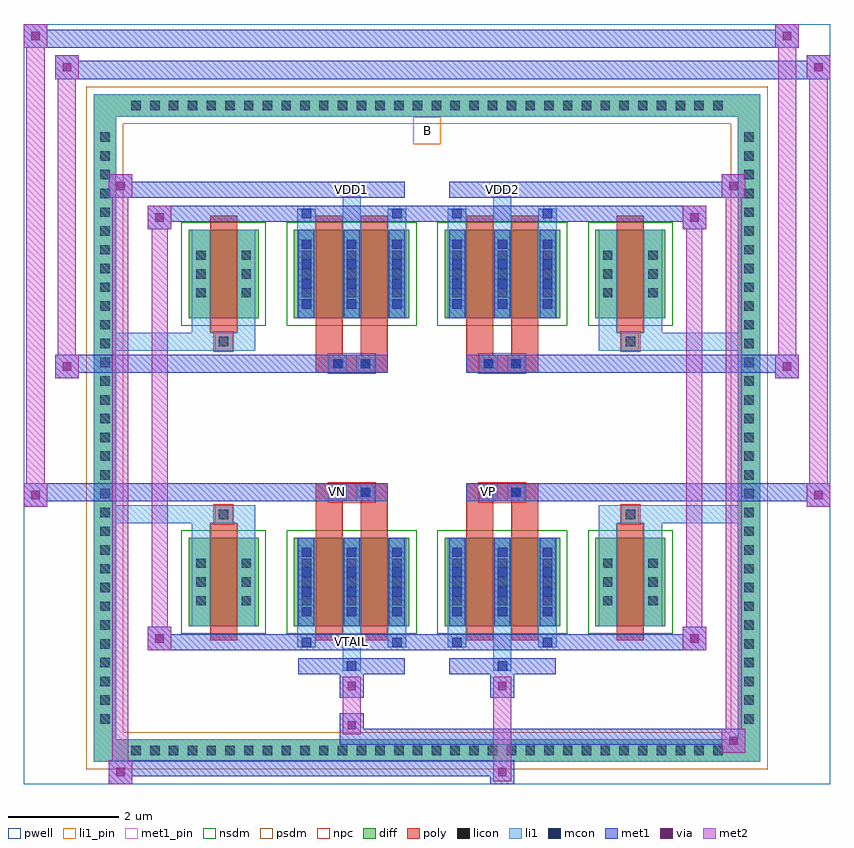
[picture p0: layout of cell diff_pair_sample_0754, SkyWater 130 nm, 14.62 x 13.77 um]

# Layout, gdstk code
import gdstk
lib = gdstk.Library(unit=1e-6, precision=5e-09)
def R(c, l, rs):  # rectangles x0, y0, x1, y1
    for r in rs: c.add(gdstk.rectangle(r[:2], r[2:], *l))
def A(c, l, x, y, w, h, nx, ny, dx, dy):  # array of equal rectangles
    R(c, l, [(x+i*dx, y+j*dy, x+i*dx+w, y+j*dy+h) for i in range(nx) for j in range(ny)])
def P(c, l, *ps):  # polygons
    for p in ps: c.add(gdstk.Polygon(p, *l))
pwell = (64, 44)
diff = (65, 20)
poly = (66, 20)
licon = (66, 44)
li1_pin = (67, 16)
li1 = (67, 20)
mcon = (67, 44)
met1_pin = (68, 16)
met1 = (68, 20)
via = (68, 44)
met2 = (69, 20)
nsdm = (93, 44)
psdm = (94, 20)
npc = (95, 20)

diff_pair_sample_0754 = lib.new_cell('diff_pair_sample_0754')
R(diff_pair_sample_0754, pwell, [(-7.31,-6.45,7.31,7.32), (-4.63,-4.64,-0.01,-0.8), (0.01,-4.64,4.63,-0.8), (-4.63,0.8,-0.01,4.64), (0.01,0.8,4.63,4.64)])
A(diff_pair_sample_0754, diff, -5.475, -6.05, 0.41, 0.41, 32, 2, 0.34, 11.69)
A(diff_pair_sample_0754, diff, -6.04, -5.475, 0.41, 0.41, 1, 32, 0, 0.34)
A(diff_pair_sample_0754, diff, 5.63, -5.475, 0.41, 0.41, 1, 32, 0, 0.34)
R(diff_pair_sample_0754, diff, [(-5.475,-6.05,5.475,-5.64), (-6.04,-5.475,-5.63,5.475), (5.63,-5.475,6.04,5.475), (-4.32,-3.595,-3.05,-1.985), (-2.41,-3.595,-0.32,-1.985), (0.32,-3.595,2.41,-1.985), (3.05,-3.595,4.32,-1.985), (-4.32,1.985,-3.05,3.595), (-2.41,1.985,-0.32,3.595), (0.32,1.985,2.41,3.595), (3.05,1.985,4.32,3.595), (-5.475,5.64,5.475,6.05)])
P(diff_pair_sample_0754, diff, [(6.04,6.05),(-6.04,6.05),(-6.04,-5.64),(-5.63,-5.64),(-5.63,5.64),(5.63,5.64),(5.63,-5.64),(-5.63,-5.64),(-6.04,-5.64),(-6.04,-6.05),(6.04,-6.05)])
R(diff_pair_sample_0754, poly, [(-3.93,-3.85,-3.44,-1.73), (-2.02,-3.85,-1.53,-1.73), (-1.2,-3.85,-0.71,-1.73), (0.71,-3.85,1.2,-1.73), (1.53,-3.85,2.02,-1.73), (3.44,-3.85,3.93,-1.73), (-3.85,-1.73,-3.52,-1.4), (-3.85,-1.73,-3.52,-1.4), (-2.02,-1.73,-1.53,-1.33), (-1.2,-1.73,-0.71,-1.33), (0.71,-1.73,1.2,-1.33), (1.53,-1.73,2.02,-1.33), (3.52,-1.73,3.85,-1.4), (3.52,-1.73,3.85,-1.4), (-2.02,-1.33,-0.71,-1), (-1.78,-1.33,-1.45,-1), (-1.28,-1.33,-0.95,-1), (0.71,-1.33,2.02,-1), (0.95,-1.33,1.28,-1), (1.45,-1.33,1.78,-1), (-2.02,1,-0.71,1.33), (-1.78,1,-1.45,1.33), (-1.28,1,-0.95,1.33), (0.71,1,2.02,1.33), (0.95,1,1.28,1.33), (1.45,1,1.78,1.33), (-2.02,1.33,-1.53,1.73), (-1.2,1.33,-0.71,1.73), (0.71,1.33,1.2,1.73), (1.53,1.33,2.02,1.73), (-3.85,1.4,-3.52,1.73), (-3.85,1.4,-3.52,1.73), (3.52,1.4,3.85,1.73), (3.52,1.4,3.85,1.73), (-3.93,1.73,-3.44,3.85), (-2.02,1.73,-1.53,3.85), (-1.2,1.73,-0.71,3.85), (0.71,1.73,1.2,3.85), (1.53,1.73,2.02,3.85), (3.44,1.73,3.93,3.85)])
A(diff_pair_sample_0754, licon, -5.355, -5.93, 0.17, 0.17, 32, 2, 0.34, 11.69)
A(diff_pair_sample_0754, licon, -5.92, -5.355, 0.17, 0.17, 1, 32, 0, 0.34)
A(diff_pair_sample_0754, licon, 5.75, -5.355, 0.17, 0.17, 1, 32, 0, 0.34)
A(diff_pair_sample_0754, licon, -4.18, -3.215, 0.17, 0.17, 1, 3, 0, 0.34)
A(diff_pair_sample_0754, licon, -3.36, -3.215, 0.17, 0.17, 1, 3, 0, 0.34)
A(diff_pair_sample_0754, licon, -2.27, -3.215, 0.17, 0.17, 3, 3, 0.82, 0.34)
A(diff_pair_sample_0754, licon, 0.46, -3.215, 0.17, 0.17, 3, 3, 0.82, 0.34)
A(diff_pair_sample_0754, licon, 3.19, -3.215, 0.17, 0.17, 1, 3, 0, 0.34)
A(diff_pair_sample_0754, licon, 4.01, -3.215, 0.17, 0.17, 1, 3, 0, 0.34)
A(diff_pair_sample_0754, licon, -4.18, 2.365, 0.17, 0.17, 1, 3, 0, 0.34)
A(diff_pair_sample_0754, licon, -3.36, 2.365, 0.17, 0.17, 1, 3, 0, 0.34)
A(diff_pair_sample_0754, licon, -2.27, 2.365, 0.17, 0.17, 3, 3, 0.82, 0.34)
A(diff_pair_sample_0754, licon, 0.46, 2.365, 0.17, 0.17, 3, 3, 0.82, 0.34)
A(diff_pair_sample_0754, licon, 3.19, 2.365, 0.17, 0.17, 1, 3, 0, 0.34)
A(diff_pair_sample_0754, licon, 4.01, 2.365, 0.17, 0.17, 1, 3, 0, 0.34)
R(diff_pair_sample_0754, licon, [(-3.77,-1.65,-3.6,-1.48), (3.6,-1.65,3.77,-1.48), (-1.7,-1.25,-1.53,-1.08), (-1.2,-1.25,-1.03,-1.08), (1.03,-1.25,1.2,-1.08), (1.53,-1.25,1.7,-1.08), (-1.7,1.08,-1.53,1.25), (-1.2,1.08,-1.03,1.25), (1.03,1.08,1.2,1.25), (1.53,1.08,1.7,1.25), (-3.77,1.48,-3.6,1.65), (3.6,1.48,3.77,1.65)])
R(diff_pair_sample_0754, li1_pin, [(-0.25,5.14,0.25,5.64)])
A(diff_pair_sample_0754, li1, -5.435, -6.01, 0.33, 0.33, 32, 2, 0.34, 11.69)
A(diff_pair_sample_0754, li1, -6, -5.435, 0.33, 0.33, 1, 32, 0, 0.34)
A(diff_pair_sample_0754, li1, 5.67, -5.435, 0.33, 0.33, 1, 32, 0, 0.34)
A(diff_pair_sample_0754, li1, -2.35, -3.595, 0.33, 1.61, 3, 2, 0.82, 5.58)
A(diff_pair_sample_0754, li1, 0.38, -3.595, 0.33, 1.61, 3, 2, 0.82, 5.58)
A(diff_pair_sample_0754, li1, -2.27, -3.415, 0.17, 0.17, 3, 4, 0.82, 0.36)
A(diff_pair_sample_0754, li1, -2.27, -3.415, 0.17, 1.25, 3, 2, 0.82, 5.58)
A(diff_pair_sample_0754, li1, 0.46, -3.415, 0.17, 0.17, 3, 4, 0.82, 0.36)
A(diff_pair_sample_0754, li1, 0.46, -3.415, 0.17, 1.25, 3, 2, 0.82, 5.58)
A(diff_pair_sample_0754, li1, -4.26, -3.295, 0.33, 0.33, 1, 3, 0, 0.34)
A(diff_pair_sample_0754, li1, -3.44, -3.295, 0.33, 0.33, 1, 3, 0, 0.34)
A(diff_pair_sample_0754, li1, -2.35, -3.295, 0.33, 0.33, 3, 3, 0.82, 0.34)
A(diff_pair_sample_0754, li1, 0.38, -3.295, 0.33, 0.33, 3, 3, 0.82, 0.34)
A(diff_pair_sample_0754, li1, 3.11, -3.295, 0.33, 0.33, 1, 3, 0, 0.34)
A(diff_pair_sample_0754, li1, 3.93, -3.295, 0.33, 0.33, 1, 3, 0, 0.34)
A(diff_pair_sample_0754, li1, -2.27, 2.165, 0.17, 0.17, 3, 4, 0.82, 0.36)
A(diff_pair_sample_0754, li1, 0.46, 2.165, 0.17, 0.17, 3, 4, 0.82, 0.36)
A(diff_pair_sample_0754, li1, -4.26, 2.285, 0.33, 0.33, 1, 3, 0, 0.34)
A(diff_pair_sample_0754, li1, -3.44, 2.285, 0.33, 0.33, 1, 3, 0, 0.34)
A(diff_pair_sample_0754, li1, -2.35, 2.285, 0.33, 0.33, 3, 3, 0.82, 0.34)
A(diff_pair_sample_0754, li1, 0.38, 2.285, 0.33, 0.33, 3, 3, 0.82, 0.34)
A(diff_pair_sample_0754, li1, 3.11, 2.285, 0.33, 0.33, 1, 3, 0, 0.34)
A(diff_pair_sample_0754, li1, 3.93, 2.285, 0.33, 0.33, 1, 3, 0, 0.34)
R(diff_pair_sample_0754, li1, [(-6.04,-6.05,-5.63,-5.64), (-6.04,-6.05,-5.63,-5.64), (-5.63,-6.05,5.63,-5.64), (5.63,-6.05,6.04,-5.64), (5.63,-6.05,6.04,-5.64), (-6.04,-5.64,-5.63,5.64), (5.63,-5.64,6.04,5.64), (-1.53,-4.4,-1.2,-3.595), (-1.45,-4.4,-1.28,-4.23), (1.2,-4.4,1.53,-3.595), (1.28,-4.4,1.45,-4.23), (-2.35,-3.97,-2.02,-3.595), (-2.27,-3.97,-2.1,-3.8), (-0.71,-3.97,-0.38,-3.595), (-0.63,-3.97,-0.46,-3.8), (0.38,-3.97,0.71,-3.595), (0.46,-3.97,0.63,-3.8), (2.02,-3.97,2.35,-3.595), (2.1,-3.97,2.27,-3.8), (-4.26,-3.595,-3.93,-1.985), (-3.44,-3.595,-3.11,-1.985), (3.11,-3.595,3.44,-1.985), (3.93,-3.595,4.26,-1.985), (-4.26,-1.985,-3.93,-1.4), (-3.44,-1.985,-3.11,-1.4), (3.11,-1.985,3.44,-1.4), (3.93,-1.985,4.26,-1.4), (-6.04,-1.73,-3.85,-1.4), (-4.26,-1.73,-3.85,-1.4), (-3.85,-1.73,-3.52,-1.4), (-3.52,-1.73,-3.11,-1.4), (3.11,-1.73,3.52,-1.4), (3.52,-1.73,3.85,-1.4), (3.52,-1.73,6.04,-1.4), (3.85,-1.73,4.26,-1.4), (-1.78,-1.33,-1.45,-1), (-1.28,-1.33,-0.95,-1), (0.95,-1.33,1.28,-1), (1.45,-1.33,1.78,-1), (-1.78,1,-1.45,1.33), (-1.28,1,-0.95,1.33), (0.95,1,1.28,1.33), (1.45,1,1.78,1.33), (-6.04,1.4,-3.85,1.73), (-4.26,1.4,-3.85,1.73), (-4.26,1.4,-3.93,1.985), (-3.85,1.4,-3.52,1.73), (-3.52,1.4,-3.11,1.73), (-3.44,1.4,-3.11,1.985), (3.11,1.4,3.52,1.73), (3.11,1.4,3.44,1.985), (3.52,1.4,3.85,1.73), (3.52,1.4,6.04,1.73), (3.85,1.4,4.26,1.73), (3.93,1.4,4.26,1.985), (-4.26,1.985,-3.93,3.595), (-3.44,1.985,-3.11,3.595), (3.11,1.985,3.44,3.595), (3.93,1.985,4.26,3.595), (-2.35,3.595,-2.02,3.97), (-1.53,3.595,-1.2,4.4), (-0.71,3.595,-0.38,3.97), (0.38,3.595,0.71,3.97), (1.2,3.595,1.53,4.4), (2.02,3.595,2.35,3.97), (-2.27,3.8,-2.1,3.97), (-0.63,3.8,-0.46,3.97), (0.46,3.8,0.63,3.97), (2.1,3.8,2.27,3.97), (-1.45,4.23,-1.28,4.4), (1.28,4.23,1.45,4.4), (-6.04,5.64,-5.63,6.05), (-6.04,5.64,-5.63,6.05), (-5.63,5.64,5.63,6.05), (5.63,5.64,6.04,6.05), (5.63,5.64,6.04,6.05)])
A(diff_pair_sample_0754, mcon, -2.27, -3.415, 0.17, 0.17, 3, 4, 0.82, 0.36)
A(diff_pair_sample_0754, mcon, 0.46, -3.415, 0.17, 0.17, 3, 4, 0.82, 0.36)
A(diff_pair_sample_0754, mcon, -2.27, 2.165, 0.17, 0.17, 3, 4, 0.82, 0.36)
A(diff_pair_sample_0754, mcon, 0.46, 2.165, 0.17, 0.17, 3, 4, 0.82, 0.36)
R(diff_pair_sample_0754, mcon, [(-1.45,-4.4,-1.28,-4.23), (1.28,-4.4,1.45,-4.23), (-2.27,-3.97,-2.1,-3.8), (-0.63,-3.97,-0.46,-3.8), (0.46,-3.97,0.63,-3.8), (2.1,-3.97,2.27,-3.8), (-1.7,-1.25,-1.53,-1.08), (-1.2,-1.25,-1.03,-1.08), (1.03,-1.25,1.2,-1.08), (1.53,-1.25,1.7,-1.08), (-1.7,1.08,-1.53,1.25), (-1.2,1.08,-1.03,1.25), (1.03,1.08,1.2,1.25), (1.53,1.08,1.7,1.25), (-2.27,3.8,-2.1,3.97), (-0.63,3.8,-0.46,3.97), (0.46,3.8,0.63,3.97), (2.1,3.8,2.27,3.97), (-1.45,4.23,-1.28,4.4), (1.28,4.23,1.45,4.4)])
R(diff_pair_sample_0754, met1_pin, [(-1.5,-4.01,-1.23,-3.74), (-1.75,-1.29,-1.48,-1.02), (0.98,-1.29,1.25,-1.02), (-1.5,4.19,-1.23,4.46), (1.23,4.19,1.5,4.46)])
A(diff_pair_sample_0754, met1, -2.33, -3.595, 0.29, 1.61, 3, 2, 0.82, 5.58)
A(diff_pair_sample_0754, met1, 0.4, -3.595, 0.29, 1.61, 3, 2, 0.82, 5.58)
A(diff_pair_sample_0754, met1, -2.33, -3.475, 0.29, 0.29, 3, 4, 0.82, 0.36)
A(diff_pair_sample_0754, met1, 0.4, -3.475, 0.29, 0.29, 3, 4, 0.82, 0.36)
A(diff_pair_sample_0754, met1, -2.33, 2.105, 0.29, 0.29, 3, 4, 0.82, 0.36)
A(diff_pair_sample_0754, met1, 0.4, 2.105, 0.29, 0.29, 3, 4, 0.82, 0.36)
R(diff_pair_sample_0754, met1, [(-5.77,-6.45,-5.34,-6.02), (1.15,-6.45,1.58,-6.02), (-5.77,-6.31,1.58,-6.02), (5.34,-5.88,5.77,-5.45), (-1.58,-5.74,5.77,-5.45), (-1.58,-5.6,-1.15,-5.17), (-1.58,-4.89,-1.15,-4.46), (1.15,-4.89,1.58,-4.46), (-2.33,-4.46,-0.4,-4.17), (-1.51,-4.46,-1.22,-4.17), (0.4,-4.46,2.33,-4.17), (1.22,-4.46,1.51,-4.17), (-5.06,-4.03,-4.63,-3.6), (-5.06,-4.03,-2.33,-3.74), (-2.33,-4.03,-2.04,-3.74), (-2.33,-4.03,-0.4,-3.74), (-0.69,-4.03,-0.4,-3.74), (-0.4,-4.03,0.4,-3.74), (0.4,-4.03,0.69,-3.74), (0.4,-4.03,2.33,-3.74), (2.04,-4.03,2.33,-3.74), (2.33,-4.03,5.06,-3.74), (4.63,-4.03,5.06,-3.6), (-7.31,-1.43,-6.88,-1), (6.88,-1.43,7.31,-1), (-7.31,-1.33,-0.71,-1), (-2.02,-1.33,-0.71,-1), (0.71,-1.33,2.02,-1), (0.71,-1.33,7.31,-1), (-1.76,-1.31,-1.47,-1.02), (-1.26,-1.31,-0.97,-1.02), (0.97,-1.31,1.26,-1.02), (1.47,-1.31,1.76,-1.02), (-6.74,0.9,-6.31,1.33), (6.31,0.9,6.74,1.33), (-6.74,1,-2.02,1.33), (-2.02,1,-0.71,1.33), (0.71,1,2.02,1.33), (2.02,1,6.74,1.33), (-1.76,1.02,-1.47,1.31), (-1.26,1.02,-0.97,1.31), (0.97,1.02,1.26,1.31), (1.47,1.02,1.76,1.31), (-5.06,3.6,-4.63,4.03), (4.63,3.6,5.06,4.03), (-5.06,3.74,-2.33,4.03), (-2.33,3.74,-2.04,4.03), (-2.33,3.74,-0.4,4.03), (-0.69,3.74,-0.4,4.03), (-0.4,3.74,0.4,4.03), (0.4,3.74,0.69,4.03), (0.4,3.74,2.33,4.03), (2.04,3.74,2.33,4.03), (2.33,3.74,5.06,4.03), (-5.77,4.17,-5.34,4.6), (-5.77,4.17,-2.33,4.46), (-2.33,4.17,-0.4,4.46), (-1.51,4.17,-1.22,4.46), (0.4,4.17,2.33,4.46), (1.22,4.17,1.51,4.46), (2.33,4.17,5.77,4.46), (5.34,4.17,5.77,4.6), (-6.74,6.32,-6.31,6.75), (-6.74,6.32,-4.63,6.65), (-4.63,6.32,4.63,6.65), (4.63,6.32,7.31,6.65), (6.88,6.32,7.31,6.75), (-7.31,6.89,-6.88,7.32), (-7.31,6.89,-4.63,7.22), (-4.63,6.89,4.63,7.22), (4.63,6.89,6.74,7.22), (6.31,6.89,6.74,7.32)])
R(diff_pair_sample_0754, via, [(-5.63,-6.31,-5.48,-6.16), (1.29,-6.31,1.44,-6.16), (5.48,-5.74,5.63,-5.59), (-1.44,-5.46,-1.29,-5.31), (-1.44,-4.75,-1.29,-4.6), (1.29,-4.75,1.44,-4.6), (-4.92,-3.89,-4.77,-3.74), (4.77,-3.89,4.92,-3.74), (-7.17,-1.29,-7.02,-1.14), (7.02,-1.29,7.17,-1.14), (-6.6,1.04,-6.45,1.19), (6.45,1.04,6.6,1.19), (-4.92,3.74,-4.77,3.89), (4.77,3.74,4.92,3.89), (-5.63,4.31,-5.48,4.46), (5.48,4.31,5.63,4.46), (-6.6,6.46,-6.45,6.61), (7.02,6.46,7.17,6.61), (-7.17,7.03,-7.02,7.18), (6.45,7.03,6.6,7.18)])
R(diff_pair_sample_0754, met2, [(-5.77,-6.45,-5.34,-6.02), (-5.7,-6.45,-5.41,4.6), (-5.41,-6.45,-5.34,-6.02), (-5.72,-6.4,-5.39,-6.07), (1.2,-6.4,1.53,-6.07), (1.2,-6.07,1.53,-4.84), (5.34,-5.88,5.77,-5.45), (5.41,-5.88,5.7,4.6), (5.7,-5.88,5.77,-5.45), (5.39,-5.83,5.72,-5.5), (-1.53,-5.55,-1.2,-5.22), (-1.53,-5.22,-1.2,-4.84), (-1.53,-4.84,-1.2,-4.51), (1.2,-4.84,1.53,-4.51), (-5.06,-4.03,-4.63,-3.6), (-4.99,-4.03,-4.7,4.03), (-4.7,-4.03,-4.63,-3.6), (4.63,-4.03,5.06,-3.6), (4.7,-4.03,4.99,4.03), (4.99,-4.03,5.06,-3.6), (-5.01,-3.98,-4.68,-3.65), (4.68,-3.98,5.01,-3.65), (-7.31,-1.43,-6.88,-1), (-7.26,-1.43,-6.93,7.32), (-6.93,-1.43,-6.88,-1), (6.88,-1.43,7.31,-1), (6.93,-1.43,7.26,6.75), (7.26,-1.43,7.31,-1), (-7.26,-1.38,-6.93,-1.05), (6.93,-1.38,7.26,-1.05), (-6.74,0.9,-6.31,1.33), (-6.69,0.9,-6.36,6.75), (-6.36,0.9,-6.31,1.33), (6.31,0.9,6.74,1.33), (6.36,0.9,6.69,7.32), (6.69,0.9,6.74,1.33), (-6.69,0.95,-6.36,1.28), (6.36,0.95,6.69,1.28), (-5.06,3.6,-4.63,4.03), (-4.7,3.6,-4.63,4.03), (4.63,3.6,5.06,4.03), (4.99,3.6,5.06,4.03), (-5.01,3.65,-4.68,3.98), (4.68,3.65,5.01,3.98), (-5.77,4.17,-5.34,4.6), (-5.41,4.17,-5.34,4.6), (5.34,4.17,5.77,4.6), (5.7,4.17,5.77,4.6), (-5.72,4.22,-5.39,4.55), (5.39,4.22,5.72,4.55), (-6.74,6.32,-6.31,6.75), (-6.36,6.32,-6.31,6.75), (6.88,6.32,7.31,6.75), (7.26,6.32,7.31,6.75), (-6.69,6.37,-6.36,6.7), (6.93,6.37,7.26,6.7), (-7.31,6.89,-6.88,7.32), (-6.93,6.89,-6.88,7.32), (6.31,6.89,6.74,7.32), (6.69,6.89,6.74,7.32), (-7.26,6.94,-6.93,7.27), (6.36,6.94,6.69,7.27)])
R(diff_pair_sample_0754, nsdm, [(-4.45,-3.725,-2.92,-1.855), (-2.54,-3.725,-0.19,-1.855), (0.19,-3.725,2.54,-1.855), (2.92,-3.725,4.45,-1.855), (-4.45,1.855,-2.92,3.725), (-2.54,1.855,-0.19,3.725), (0.19,1.855,2.54,3.725), (2.92,1.855,4.45,3.725)])
P(diff_pair_sample_0754, psdm, [(6.17,6.18),(-6.17,6.18),(-6.17,-5.51),(-5.5,-5.51),(-5.5,5.51),(5.5,5.51),(5.5,-5.51),(-5.5,-5.51),(-6.17,-5.51),(-6.17,-6.18),(6.17,-6.18)])
R(diff_pair_sample_0754, npc, [(-3.87,-1.75,-3.5,-1.38), (3.5,-1.75,3.87,-1.38), (-1.8,-1.35,-1.43,-0.98), (-1.8,-1.35,-0.93,-0.98), (-1.8,-1.35,-0.93,-0.98), (-1.3,-1.35,-0.93,-0.98), (0.93,-1.35,1.3,-0.98), (0.93,-1.35,1.8,-0.98), (0.93,-1.35,1.8,-0.98), (1.43,-1.35,1.8,-0.98), (-1.8,0.98,-1.43,1.35), (-1.8,0.98,-0.93,1.35), (-1.8,0.98,-0.93,1.35), (-1.3,0.98,-0.93,1.35), (0.93,0.98,1.3,1.35), (0.93,0.98,1.8,1.35), (0.93,0.98,1.8,1.35), (1.43,0.98,1.8,1.35), (-3.87,1.38,-3.5,1.75), (3.5,1.38,3.87,1.75)])
diff_pair_sample_0754.add(gdstk.Label('VTAIL', (-1.365,-3.875), layer=68, texttype=5))
diff_pair_sample_0754.add(gdstk.Label('VN', (-1.615,-1.155), layer=68, texttype=5))
diff_pair_sample_0754.add(gdstk.Label('VP', (1.115,-1.155), layer=68, texttype=5))
diff_pair_sample_0754.add(gdstk.Label('B', (0,5.39), layer=67, texttype=5))
diff_pair_sample_0754.add(gdstk.Label('VDD2', (1.365,4.325), layer=68, texttype=5))
diff_pair_sample_0754.add(gdstk.Label('VDD1', (-1.365,4.325), layer=68, texttype=5))

lib.write_gds('diff_pair_sample_0754.gds')
